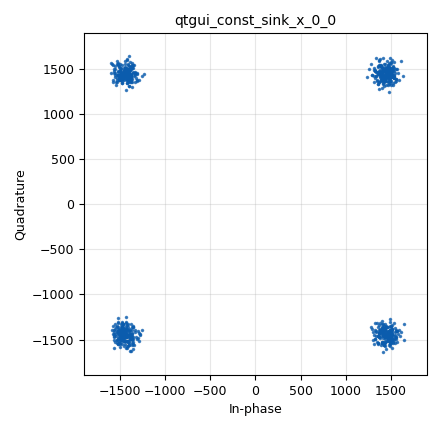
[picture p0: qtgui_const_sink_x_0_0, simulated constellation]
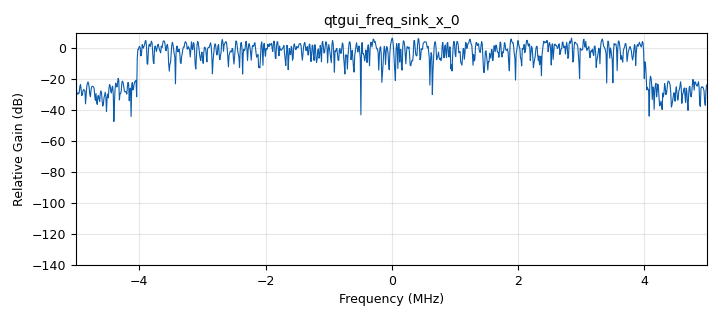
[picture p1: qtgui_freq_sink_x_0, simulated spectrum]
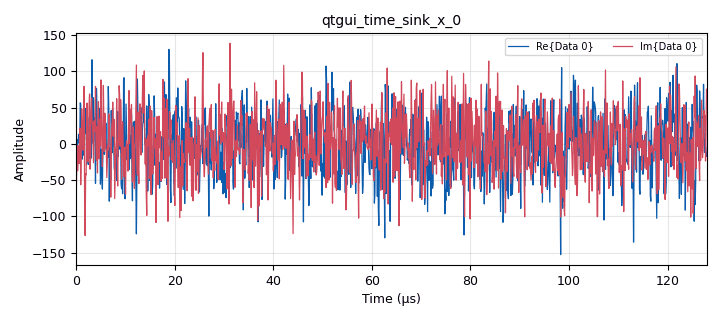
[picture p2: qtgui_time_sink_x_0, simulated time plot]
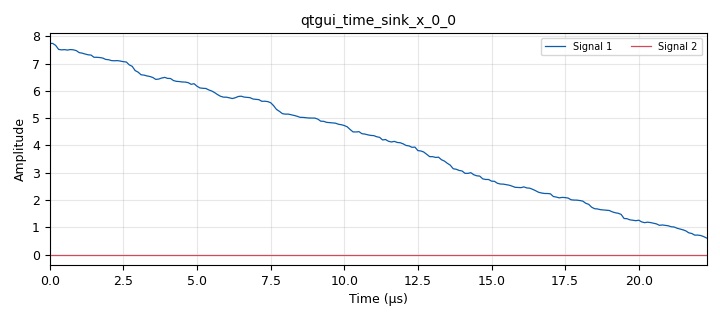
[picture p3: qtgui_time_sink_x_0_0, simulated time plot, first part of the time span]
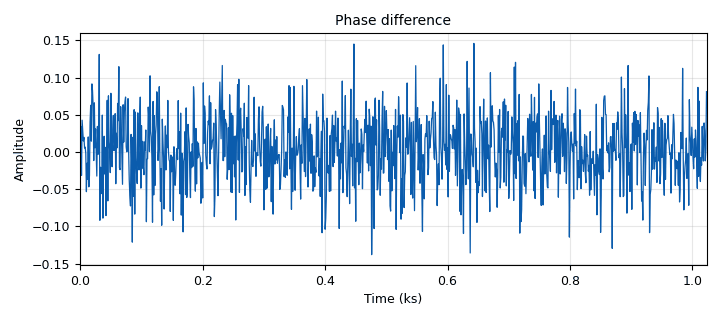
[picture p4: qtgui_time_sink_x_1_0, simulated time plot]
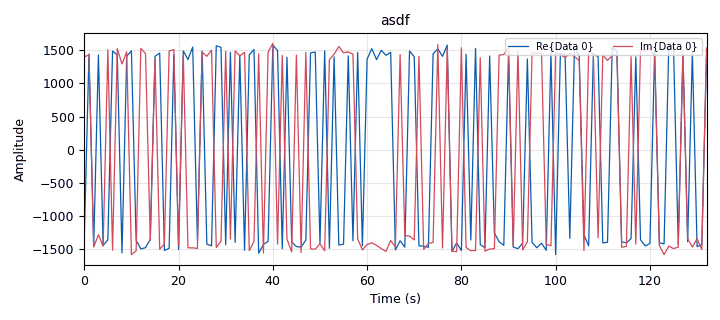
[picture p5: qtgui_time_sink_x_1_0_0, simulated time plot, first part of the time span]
options:
  parameters:
    author: josh
    generate_options: qt_gui
    id: gen_ofdm
    output_language: python
    run_options: run
    title: Not titled yet
  states: {}

blocks:
- name: const
  id: variable_constellation
  parameters:
    precision: '8'
    type: qpsk
  states: {}
- name: cp_len
  id: variable
  parameters:
    value: int(fft_len/4)
  states: {}
- name: fft_len
  id: variable
  parameters:
    value: '1024'
  states: {}
- name: nsyms
  id: variable
  parameters:
    value: '10000'
  states: {}
- name: samp_rate
  id: variable
  parameters:
    value: '10000000'
  states: {}
- name: analog_const_source_x_0
  id: analog_const_source_x
  parameters:
    const: const.points()[3]
    type: complex
  states: {}
- name: analog_const_source_x_0_0_0
  id: analog_const_source_x
  parameters:
    const: const.points()[3]
    type: complex
  states: {}
- name: analog_const_source_x_0_1
  id: analog_const_source_x
  parameters:
    const: const.points()[0]
    type: complex
  states: {state: disabled}
- name: analog_fastnoise_source_x_0
  id: analog_fastnoise_source_x
  parameters:
    amp: '3'
    noise_type: analog.GR_GAUSSIAN
    samples: '8192'
    seed: '0'
    type: complex
  states: {}
- name: analog_random_source_x_0
  id: analog_random_source_x
  parameters:
    max: '4'
    min: '0'
    num_samps: '100000'
    repeat: 'True'
    type: byte
  states: {}
- name: analog_random_source_x_0_0
  id: analog_random_source_x
  parameters:
    max: '4'
    min: '0'
    num_samps: '100000'
    repeat: 'True'
    type: byte
  states: {}
- name: analog_random_source_x_0_1
  id: analog_random_source_x
  parameters:
    max: '4'
    min: '0'
    num_samps: '100000'
    repeat: 'True'
    type: byte
  states: {}
- name: blocks_add_xx_0
  id: blocks_add_xx
  parameters:
    type: complex
  states: {}
- name: blocks_add_xx_1
  id: blocks_add_xx
  parameters:
    num_inputs: '3'
    type: float
  states: {}
- name: blocks_char_to_float_0
  id: blocks_char_to_float
  parameters:
    scale: '1'
  states: {}
- name: blocks_char_to_float_0_0
  id: blocks_char_to_float
  parameters:
    scale: '1'
  states: {state: disabled}
- name: blocks_complex_to_arg_1
  id: blocks_complex_to_arg
  parameters: {}
  states: {}
- name: blocks_complex_to_arg_1_0
  id: blocks_complex_to_arg
  parameters: {}
  states: {}
- name: blocks_complex_to_arg_1_0_0
  id: blocks_complex_to_arg
  parameters: {}
  states: {}
- name: blocks_complex_to_arg_1_1
  id: blocks_complex_to_arg
  parameters: {}
  states: {}
- name: blocks_complex_to_mag_0
  id: blocks_complex_to_mag
  parameters: {}
  states: {}
- name: blocks_complex_to_mag_1
  id: blocks_complex_to_mag
  parameters: {}
  states: {state: disabled}
- name: blocks_delay_0
  id: blocks_delay
  parameters:
    delay: fft_len
    type: complex
  states: {}
- name: blocks_divide_xx_0
  id: blocks_divide_xx
  parameters:
    type: complex
  states: {}
- name: blocks_divide_xx_0_0
  id: blocks_divide_xx
  parameters:
    type: complex
  states: {}
- name: blocks_divide_xx_0_1
  id: blocks_divide_xx
  parameters:
    type: complex
  states: {}
- name: blocks_divide_xx_0_2
  id: blocks_divide_xx
  parameters:
    type: complex
  states: {}
- name: blocks_moving_average_xx_0
  id: blocks_moving_average_xx
  parameters:
    length: cp_len
    max_iter: '4000'
    scale: 1/100000
    type: complex
  states: {}
- name: blocks_multiply_conjugate_cc_0
  id: blocks_multiply_conjugate_cc
  parameters: {}
  states: {}
- name: blocks_null_sink_0
  id: blocks_null_sink
  parameters:
    type: complex
  states: {}
- name: blocks_null_sink_0_0
  id: blocks_null_sink
  parameters:
    type: complex
  states: {}
- name: blocks_null_sink_0_0_0
  id: blocks_null_sink
  parameters:
    type: complex
  states: {}
- name: blocks_null_sink_0_1
  id: blocks_null_sink
  parameters:
    type: complex
  states: {}
- name: blocks_null_source_0
  id: blocks_null_source
  parameters:
    type: complex
  states: {}
- name: blocks_null_source_0_0
  id: blocks_null_source
  parameters:
    type: complex
  states: {}
- name: blocks_peak_detector2_fb_0
  id: blocks_peak_detector2_fb
  parameters:
    alpha: '0.0000001'
    look_ahead: '1000'
    threshold_factor_rise: '3'
  states: {}
- name: blocks_rotator_cc_0
  id: blocks_rotator_cc
  parameters:
    phase_inc: math.pi / 4 + 2*math.pi / 1024
  states: {state: disabled}
- name: blocks_stream_demux_0
  id: blocks_stream_demux
  parameters:
    lengths: (cp_len , fft_len, 0)
    num_outputs: '3'
    type: complex
  states: {}
- name: blocks_stream_demux_0_0
  id: blocks_stream_demux
  parameters:
    lengths: (100,824, 100)
    num_outputs: '3'
    type: complex
  states: {}
- name: blocks_stream_demux_0_0_0
  id: blocks_stream_demux
  parameters:
    lengths: (1, 274, 1, 274, 1, 274, 1)
    num_outputs: '7'
    type: complex
  states: {}
- name: blocks_stream_mux_0
  id: blocks_stream_mux
  parameters:
    lengths: (100, 824, 100)
    num_inputs: '3'
    type: complex
  states: {}
- name: blocks_stream_mux_1
  id: blocks_stream_mux
  parameters:
    lengths: (274, 274, 274)
    num_inputs: '3'
    type: complex
  states: {}
- name: blocks_stream_mux_2
  id: blocks_stream_mux
  parameters:
    comment: Pilot Symbol Insertion
    lengths: (1, 274, 1, 274, 1, 274, 1)
    num_inputs: '7'
    type: complex
  states: {}
- name: blocks_stream_to_tagged_stream_0
  id: blocks_stream_to_tagged_stream
  parameters:
    len_tag_key: '"symbol_start"'
    packet_len: fft_len + cp_len
    type: complex
  states: {}
- name: blocks_stream_to_vector_0
  id: blocks_stream_to_vector
  parameters:
    num_items: fft_len
    type: complex
  states: {}
- name: blocks_stream_to_vector_1
  id: blocks_stream_to_vector
  parameters:
    num_items: fft_len
    type: complex
  states: {}
- name: blocks_sub_xx_0
  id: blocks_sub_xx
  parameters:
    type: float
  states: {}
- name: blocks_sub_xx_0_0
  id: blocks_sub_xx
  parameters:
    type: float
  states: {}
- name: blocks_sub_xx_0_0_0
  id: blocks_sub_xx
  parameters:
    type: float
  states: {}
- name: blocks_tag_gate_0
  id: blocks_tag_gate
  parameters:
    propagate_tags: 'False'
    type: complex
  states: {}
- name: blocks_tag_gate_0_0
  id: blocks_tag_gate
  parameters:
    propagate_tags: 'False'
    type: float
  states: {}
- name: blocks_throttle_0
  id: blocks_throttle
  parameters:
    samples_per_second: samp_rate
    type: complex
  states: {}
- name: blocks_vector_to_stream_0
  id: blocks_vector_to_stream
  parameters:
    num_items: fft_len
    type: complex
  states: {}
- name: digital_constellation_decoder_cb_0
  id: digital_constellation_decoder_cb
  parameters:
    constellation: const
  states: {state: disabled}
- name: digital_constellation_encoder_bc_1
  id: digital_constellation_encoder_bc
  parameters:
    constellation: const
  states: {}
- name: digital_constellation_encoder_bc_1_0
  id: digital_constellation_encoder_bc
  parameters:
    constellation: const
  states: {}
- name: digital_constellation_encoder_bc_1_1
  id: digital_constellation_encoder_bc
  parameters:
    constellation: const
  states: {}
- name: digital_ofdm_cyclic_prefixer_0
  id: digital_ofdm_cyclic_prefixer
  parameters:
    cp_len: cp_len
    input_size: fft_len
    tagname: ''
  states: {}
- name: epy_block_0
  id: epy_block
  parameters:
    _source_code: |
      """
      Embedded Python Blocks:

      Each time this file is saved, GRC will instantiate the first class it finds
      to get ports and parameters of your block. The arguments to __init__  will
      be the parameters. All of them are required to have default values!
      """

      import numpy as np
      from gnuradio import gr


      class blk(gr.basic_block):  # other base classes are basic_block, decim_block, interp_block
          """Embedded Python Block example - a simple multiply const"""

          def __init__(self, num_samples=1280):  # only default arguments here
              """arguments to this function show up as parameters in GRC"""
              gr.basic_block.__init__(
                  self,
                  name='Embedded Python Block',   # will show up in GRC
                  in_sig=[np.complex64, np.int8],
                  out_sig=[np.complex64]
              )
              self.set_output_multiple(num_samples)
              # if an attribute with the same name as a parameter is found,
              # a callback is registered (properties work, too).
              self.num_samples = num_samples


          def general_work(self, input_items, output_items):
              """example: multiply with constant"""
              #print("work")
       
              nout = 0       
              nconsume = 0
              nin = min(len(output_items[0]), len(input_items[0]),len(input_items[0]))
              max_nout = len(output_items[0]) / self.num_samples
              #print(f"nin={nin}, max_nout={max_nout}")
              for ii in range (nin-self.num_samples):
                  if input_items[1][ii]:
                      #print("a")
                      output_items[0][nout*self.num_samples:(nout+1)*self.num_samples] = input_items[0][ii:ii+self.num_samples]
                      #output_items[0][nout*self.num_samples:(nout+1)*self.num_samples] = np.ones(self.num_samples,dtype=np.complex64)
                      nout += 1
                      if nout >= max_nout:
                         break
                  #print("b")
                  nconsume += 1
              
              self.consume_each(nconsume)
              #print(f"nout={nout}, nconsume={nconsume}")
              return nout*self.num_samples
    num_samples: fft_len + cp_len
  states: {state: disabled}
- name: fft_vxx_0
  id: fft_vxx
  parameters:
    fft_size: fft_len
    forward: 'False'
    shift: 'True'
    type: complex
    window: ()
  states: {}
- name: fft_vxx_1
  id: fft_vxx
  parameters:
    fft_size: fft_len
    forward: 'True'
    shift: 'True'
    type: complex
    window: '[]'
  states: {}
- name: import_0
  id: import
  parameters:
    imports: import math
  states: {}
- name: qtgui_const_sink_x_0_0
  id: qtgui_const_sink_x
  parameters:
    autoscale: 'True'
    size: '822'
    type: complex
  states: {}
- name: qtgui_freq_sink_x_0
  id: qtgui_freq_sink_x
  parameters:
    bw: samp_rate
    fc: '0'
    fftsize: '1024'
    type: complex
  states: {}
- name: qtgui_time_sink_x_0
  id: qtgui_time_sink_x
  parameters:
    autoscale: 'True'
    size: fft_len + cp_len
    srate: samp_rate
    type: complex
  states: {}
- name: qtgui_time_sink_x_0_0
  id: qtgui_time_sink_x
  parameters:
    autoscale: 'True'
    nconnections: '2'
    size: '102400'
    srate: samp_rate
    type: float
  states: {}
- name: qtgui_time_sink_x_0_0_0
  id: qtgui_time_sink_x
  parameters:
    autoscale: 'True'
    size: '824'
    srate: samp_rate
    type: float
  states: {state: disabled}
- name: qtgui_time_sink_x_0_0_1
  id: qtgui_time_sink_x
  parameters:
    autoscale: 'True'
    size: '102400'
    srate: samp_rate
    type: float
  states: {state: disabled}
- name: qtgui_time_sink_x_0_1
  id: qtgui_time_sink_x
  parameters:
    size: fft_len+cp_len
    srate: samp_rate
    type: complex
  states: {state: disabled}
- name: qtgui_time_sink_x_1
  id: qtgui_time_sink_x
  parameters:
    autoscale: 'True'
    size: fft_len
    srate: '1'
    type: float
  states: {state: disabled}
- name: qtgui_time_sink_x_1_0
  id: qtgui_time_sink_x
  parameters:
    autoscale: 'True'
    name: Phase difference
    size: fft_len
    srate: '1'
    type: float
  states: {}
- name: qtgui_time_sink_x_1_0_0
  id: qtgui_time_sink_x
  parameters:
    autoscale: 'True'
    name: asdf
    size: '824'
    srate: '1'
    type: complex
  states: {}
- name: tx_out
  id: virtual_sink
  parameters:
    stream_id: tx_out
  states: {}
- name: virtual_source_0
  id: virtual_source
  parameters:
    stream_id: tx_out
  states: {}

connections:
- [analog_const_source_x_0, '0', blocks_stream_mux_2, '0']
- [analog_const_source_x_0, '0', blocks_stream_mux_2, '2']
- [analog_const_source_x_0, '0', blocks_stream_mux_2, '4']
- [analog_const_source_x_0, '0', blocks_stream_mux_2, '6']
- [analog_const_source_x_0_0_0, '0', blocks_divide_xx_0, '1']
- [analog_const_source_x_0_0_0, '0', blocks_divide_xx_0_0, '1']
- [analog_const_source_x_0_0_0, '0', blocks_divide_xx_0_1, '1']
- [analog_const_source_x_0_0_0, '0', blocks_divide_xx_0_2, '1']
- [analog_fastnoise_source_x_0, '0', blocks_add_xx_0, '0']
- [analog_random_source_x_0, '0', digital_constellation_encoder_bc_1, '0']
- [analog_random_source_x_0_0, '0', digital_constellation_encoder_bc_1_0, '0']
- [analog_random_source_x_0_1, '0', digital_constellation_encoder_bc_1_1, '0']
- [blocks_add_xx_0, '0', blocks_stream_demux_0, '0']
- [blocks_add_xx_0, '0', blocks_stream_to_tagged_stream_0, '0']
- [blocks_add_xx_1, '0', qtgui_time_sink_x_1_0, '0']
- [blocks_char_to_float_0, '0', qtgui_time_sink_x_0_0, '1']
- [blocks_char_to_float_0_0, '0', qtgui_time_sink_x_0_0_0, '0']
- [blocks_complex_to_arg_1, '0', blocks_sub_xx_0, '1']
- [blocks_complex_to_arg_1, '0', blocks_sub_xx_0_0, '0']
- [blocks_complex_to_arg_1_0, '0', blocks_sub_xx_0, '0']
- [blocks_complex_to_arg_1_0_0, '0', blocks_sub_xx_0_0, '1']
- [blocks_complex_to_arg_1_0_0, '0', blocks_sub_xx_0_0_0, '0']
- [blocks_complex_to_arg_1_1, '0', blocks_sub_xx_0_0_0, '1']
- [blocks_complex_to_mag_0, '0', blocks_tag_gate_0_0, '0']
- [blocks_complex_to_mag_0, '0', qtgui_time_sink_x_0_0, '0']
- [blocks_complex_to_mag_1, '0', qtgui_time_sink_x_1, '0']
- [blocks_delay_0, '0', blocks_tag_gate_0, '0']
- [blocks_divide_xx_0, '0', blocks_complex_to_arg_1_0, '0']
- [blocks_divide_xx_0_0, '0', blocks_complex_to_arg_1, '0']
- [blocks_divide_xx_0_1, '0', blocks_complex_to_arg_1_0_0, '0']
- [blocks_divide_xx_0_2, '0', blocks_complex_to_arg_1_1, '0']
- [blocks_moving_average_xx_0, '0', blocks_complex_to_mag_0, '0']
- [blocks_multiply_conjugate_cc_0, '0', blocks_moving_average_xx_0, '0']
- [blocks_null_source_0, '0', blocks_stream_mux_0, '0']
- [blocks_null_source_0_0, '0', blocks_stream_mux_0, '2']
- [blocks_peak_detector2_fb_0, '0', blocks_char_to_float_0, '0']
- [blocks_peak_detector2_fb_0, '0', epy_block_0, '1']
- [blocks_rotator_cc_0, '0', blocks_stream_demux_0_0, '0']
- [blocks_stream_demux_0, '0', blocks_null_sink_0, '0']
- [blocks_stream_demux_0, '1', blocks_stream_to_vector_1, '0']
- [blocks_stream_demux_0, '2', blocks_null_sink_0_1, '0']
- [blocks_stream_demux_0_0, '0', blocks_null_sink_0_0, '0']
- [blocks_stream_demux_0_0, '1', blocks_stream_demux_0_0_0, '0']
- [blocks_stream_demux_0_0, '1', qtgui_time_sink_x_1_0_0, '0']
- [blocks_stream_demux_0_0, '2', blocks_null_sink_0_0_0, '0']
- [blocks_stream_demux_0_0_0, '0', blocks_divide_xx_0, '0']
- [blocks_stream_demux_0_0_0, '1', blocks_stream_mux_1, '0']
- [blocks_stream_demux_0_0_0, '2', blocks_divide_xx_0_0, '0']
- [blocks_stream_demux_0_0_0, '3', blocks_stream_mux_1, '1']
- [blocks_stream_demux_0_0_0, '4', blocks_divide_xx_0_1, '0']
- [blocks_stream_demux_0_0_0, '5', blocks_stream_mux_1, '2']
- [blocks_stream_demux_0_0_0, '6', blocks_divide_xx_0_2, '0']
- [blocks_stream_mux_0, '0', blocks_stream_to_vector_0, '0']
- [blocks_stream_mux_1, '0', qtgui_const_sink_x_0_0, '0']
- [blocks_stream_mux_2, '0', blocks_throttle_0, '0']
- [blocks_stream_to_tagged_stream_0, '0', qtgui_freq_sink_x_0, '0']
- [blocks_stream_to_tagged_stream_0, '0', qtgui_time_sink_x_0, '0']
- [blocks_stream_to_tagged_stream_0, '0', tx_out, '0']
- [blocks_stream_to_vector_0, '0', fft_vxx_0, '0']
- [blocks_stream_to_vector_1, '0', fft_vxx_1, '0']
- [blocks_sub_xx_0, '0', blocks_add_xx_1, '0']
- [blocks_sub_xx_0_0, '0', blocks_add_xx_1, '1']
- [blocks_sub_xx_0_0_0, '0', blocks_add_xx_1, '2']
- [blocks_tag_gate_0, '0', blocks_multiply_conjugate_cc_0, '1']
- [blocks_tag_gate_0_0, '0', blocks_peak_detector2_fb_0, '0']
- [blocks_throttle_0, '0', blocks_stream_mux_0, '1']
- [blocks_vector_to_stream_0, '0', blocks_complex_to_mag_1, '0']
- [blocks_vector_to_stream_0, '0', blocks_rotator_cc_0, '0']
- [blocks_vector_to_stream_0, '0', blocks_stream_demux_0_0, '0']
- [digital_constellation_decoder_cb_0, '0', blocks_char_to_float_0_0, '0']
- [digital_constellation_encoder_bc_1, '0', blocks_stream_mux_2, '3']
- [digital_constellation_encoder_bc_1_0, '0', blocks_stream_mux_2, '1']
- [digital_constellation_encoder_bc_1_1, '0', blocks_stream_mux_2, '5']
- [digital_ofdm_cyclic_prefixer_0, '0', blocks_add_xx_0, '1']
- [epy_block_0, '0', blocks_stream_demux_0, '0']
- [epy_block_0, '0', qtgui_time_sink_x_0_1, '0']
- [fft_vxx_0, '0', digital_ofdm_cyclic_prefixer_0, '0']
- [fft_vxx_1, '0', blocks_vector_to_stream_0, '0']
- [virtual_source_0, '0', blocks_delay_0, '0']
- [virtual_source_0, '0', blocks_multiply_conjugate_cc_0, '0']
- [virtual_source_0, '0', epy_block_0, '0']

metadata:
  file_format: 1
  grc_version: v3.11.0.0git-348-gab2ee30f
